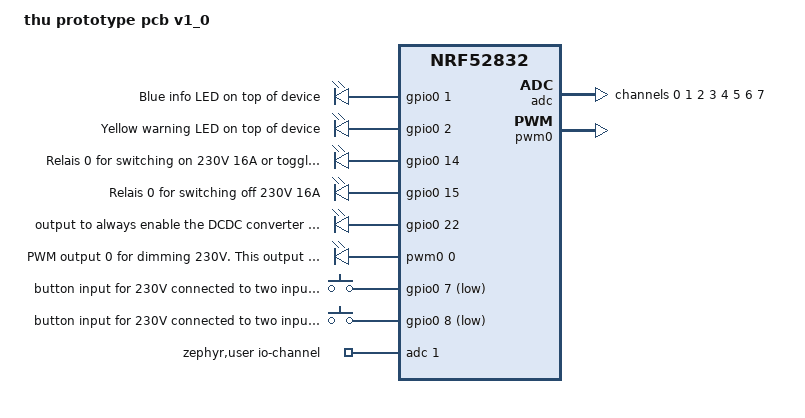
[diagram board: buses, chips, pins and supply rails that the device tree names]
// Copyright (c) 2023 Nordic Semiconductor ASA
// SPDX-License-Identifier: Apache-2.0

/dts-v1/;
#include <nordic/nrf52832_qfaa.dtsi>
#include "thu_proto_v1_0-pinctrl.dtsi"

/ {
	model = "thu prototype pcb v1_0";
	compatible = "thu,thu-proto-v1-0";

	chosen {
		zephyr,sram = &sram0;
		zephyr,flash = &flash0;
		zephyr,code-partition = &slot0_partition;
	};

	leds {
		compatible = "gpio-leds";
		infoled0: info_led0 {
			gpios = <&gpio0 1 GPIO_ACTIVE_HIGH>;
			label = "Blue info LED on top of device";
		};
		warnled1: warn_led1 {
			gpios = <&gpio0 2 GPIO_ACTIVE_HIGH>;
			label = "Yellow warning LED on top of device";
		};
		relaisout0set: relais_output0_set {
			gpios = <&gpio0 14 GPIO_ACTIVE_HIGH>;
			label = "Relais 0 for switching on 230V 16A or toggling led on devKit";
		};
		relaisout0reset: relais_output0_reset {
			gpios = <&gpio0 15 GPIO_ACTIVE_HIGH>;
			label = "Relais 0 for switching off 230V 16A";
		};
		dcdcen: dcdc_enable {
			gpios = <&gpio0 22 GPIO_ACTIVE_HIGH>;
			label = "output to always enable the DCDC converter of the power supply";
		};
	};

	pwmoutputs {
		compatible = "pwm-leds";
		pwm_output0: pwm_output_0 {
			//! pwm led not added on this pcb
			pwms = <&pwm0 0 PWM_MSEC(20) PWM_POLARITY_INVERTED>;
			label = "PWM output 0 for dimming 230V. This output is not present on this pcb!";
		};
	};

	buttons {
		compatible = "gpio-keys";
		button230v0a: button_230v_0_a {
			gpios = <&gpio0 7 (GPIO_ACTIVE_LOW)>;
			label = "button input for 230V connected to two inputs (0a)";
		};
		button230v0b: button_230v_0_b {
			gpios = <&gpio0 8 (GPIO_ACTIVE_LOW)>;
			label = "button input for 230V connected to two inputs (ob)";
		};
	};

	/* These aliases are provided for compatibility with samples */
	aliases {
		led0 = &infoled0;
		led1 = &warnled1;
		relaisout0set = &relaisout0set;
		relaisout0reset = &relaisout0reset;
		dcdcen = &dcdcen;
		pwm-output0 = &pwm_output0;
		button230v0a = &button230v0a;
		button230v0b = &button230v0b;
		bootloader-led0 = &infoled0;
		mcuboot-button0 = &button230v0a;
		mcuboot-led0 = &infoled0;
		watchdog0 = &wdt0;
		//added for Hausautomatisierung
		//outputs
		healthinfoled = &infoled0;
		relaisoutput = &relaisout0set;
		relaiscloseoutput = &relaisout0set;
		relaisopenoutput = &relaisout0reset;
		dimmeroutput = &pwm_output0;
		//inputs
		relaistogglebutton = &button230v0a;
		relaisleverrisingedge = &button230v0a;
		relaisleverfallingedge = &button230v0b;
		dimmonoffbuttonrisingedge = &button230v0a;
		dimmonoffbuttonfallingedge = &button230v0b;
		// end of Hausautomatisierung
	};
};

&adc {
	status = "okay";
};

&gpiote {		//for interrupts
	status = "okay";
};

&gpio0 {		//for gpio pins
	status = "okay";
};

&pwm0 {
	status = "okay";
	pinctrl-0 = <&pwm0_default>;
	pinctrl-1 = <&pwm0_sleep>;
	pinctrl-names = "default", "sleep";
};

&flash0 {

	partitions {
		compatible = "fixed-partitions";
		#address-cells = <1>;
		#size-cells = <1>;

		boot_partition: partition@0 {
			label = "mcuboot";
			reg = <0x00000000 0xc000>;
		};
		slot0_partition: partition@c000 {
			label = "image-0";
			reg = <0x0000C000 0x32000>;
		};
		slot1_partition: partition@3e000 {
			label = "image-1";
			reg = <0x0003E000 0x32000>;
		};
		scratch_partition: partition@70000 {
			label = "image-scratch";
			reg = <0x00070000 0xa000>;
		};
		storage_partition: partition@7a000 {
			label = "storage";
			reg = <0x0007a000 0x00006000>;
		};
	};
};








// overlay
/ {
	zephyr,user {
	   io-channels = <&adc 1>;
	};
 };

 &adc {
	#address-cells = <1>;	//numer of cells required to represent a physical address
	#size-cells = <0>;		//number of cells required to represent the size of nodes that are children of this node

	channel@0 {
		reg = <0>;
		zephyr,gain = "ADC_GAIN_1_6";
		zephyr,reference = "ADC_REF_INTERNAL";
		zephyr,acquisition-time = <ADC_ACQ_TIME_DEFAULT>;
		zephyr,input-positive = <NRF_SAADC_AIN0>; /* P0.02 */
		zephyr,resolution = <12>;
		//zephyr,oversampling = < 4 >;
	};
	channel@1 {
		reg = <1>;		//describes the address of the device’s resources within the address space defined by its parent bus. Mostly is an offset
		zephyr,gain = "ADC_GAIN_1_6";
		zephyr,reference = "ADC_REF_INTERNAL";
		zephyr,acquisition-time = <ADC_ACQ_TIME_DEFAULT>;
		zephyr,input-positive = <NRF_SAADC_AIN1>; /* P0.03 */
		zephyr,resolution = <12>;
	};
	channel@2 {
		reg = <2>;		//describes the address of the device’s resources within the address space defined by its parent bus. Mostly is an offset
		zephyr,gain = "ADC_GAIN_1_6";
		zephyr,reference = "ADC_REF_INTERNAL";
		zephyr,acquisition-time = <ADC_ACQ_TIME_DEFAULT>;
		zephyr,input-positive = <NRF_SAADC_AIN2>; /* P0.04 */
		zephyr,resolution = <12>;
	};
	channel@3 {
		reg = <3>;		//describes the address of the device’s resources within the address space defined by its parent bus. Mostly is an offset
		zephyr,gain = "ADC_GAIN_1_6";
		zephyr,reference = "ADC_REF_INTERNAL";
		zephyr,acquisition-time = <ADC_ACQ_TIME_DEFAULT>;
		zephyr,input-positive = <NRF_SAADC_AIN3>; /* P0.05 */
		zephyr,resolution = <12>;
	};
	channel@4 {
		reg = <4>;		//describes the address of the device’s resources within the address space defined by its parent bus. Mostly is an offset
		zephyr,gain = "ADC_GAIN_1_6";
		zephyr,reference = "ADC_REF_INTERNAL";
		zephyr,acquisition-time = <ADC_ACQ_TIME_DEFAULT>;
		zephyr,input-positive = <NRF_SAADC_AIN4>; /* P0.28 */
		zephyr,resolution = <12>;
	};
	channel@5 {
		reg = <5>;		//describes the address of the device’s resources within the address space defined by its parent bus. Mostly is an offset
		zephyr,gain = "ADC_GAIN_1_6";
		zephyr,reference = "ADC_REF_INTERNAL";
		zephyr,acquisition-time = <ADC_ACQ_TIME_DEFAULT>;
		zephyr,input-positive = <NRF_SAADC_AIN5>; /* P0.29 */
		zephyr,resolution = <12>;
	};
	channel@6 {
		reg = <6>;		//describes the address of the device’s resources within the address space defined by its parent bus. Mostly is an offset
		zephyr,gain = "ADC_GAIN_1_6";
		zephyr,reference = "ADC_REF_INTERNAL";
		zephyr,acquisition-time = <ADC_ACQ_TIME_DEFAULT>;
		zephyr,input-positive = <NRF_SAADC_AIN6>; /* P0.30 */
		zephyr,resolution = <12>;
	};
	channel@7 {
		reg = <7>;		//describes the address of the device’s resources within the address space defined by its parent bus. Mostly is an offset
		zephyr,gain = "ADC_GAIN_1_6";
		zephyr,reference = "ADC_REF_INTERNAL";
		zephyr,acquisition-time = <ADC_ACQ_TIME_DEFAULT>;
		zephyr,input-positive = <NRF_SAADC_AIN7>; /* P0.31 */
		zephyr,resolution = <12>;
	};

};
